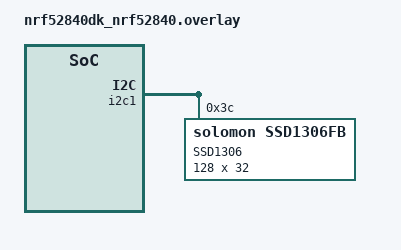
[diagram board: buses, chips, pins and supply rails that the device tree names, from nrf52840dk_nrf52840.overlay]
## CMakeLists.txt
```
cmake_minimum_required(VERSION 3.20.0)
find_package(Zephyr REQUIRED HINTS $ENV{ZEPHYR_BASE})

project(OLED_text_print)

target_sources(app PRIVATE src/main.c)
```

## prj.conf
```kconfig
CONFIG_STDOUT_CONSOLE=y

CONFIG_HEAP_MEM_POOL_SIZE=16384

CONFIG_DISPLAY=y

CONFIG_LOG=y

CONFIG_CFB_LOG_LEVEL_DBG=y
CONFIG_CHARACTER_FRAMEBUFFER=y

#Add these for the SSD1306 OLED:
CONFIG_I2C=y
CONFIG_SSD1306=y

#Reverse colors:
CONFIG_SSD1306_REVERSE_MODE=y
```

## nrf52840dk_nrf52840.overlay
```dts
&i2c1 {
    ssd1306@3c {
        compatible = "solomon,ssd1306fb";
        reg = <0x3c>;
        label = "SSD1306";
        width = <128>;
        height = <32>;
        segment-offset = <0>;
        page-offset = <0>;
        display-offset = <0>;
        multiplex-ratio = <31>;
        segment-remap;
        com-invdir;
        com-sequential;
        prechargep = <0x22>;
    };
};
&spi1 {
    status = "disabled";
};
```

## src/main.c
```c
#include <zephyr/kernel.h>
#include <zephyr/device.h>
#include <zephyr/display/cfb.h>
#include <stdio.h>

#if defined(CONFIG_SSD16XX)
#define DISPLAY_DRIVER		"SSD16XX"
#endif

#if defined(CONFIG_SSD1306)
#define DISPLAY_DRIVER		"SSD1306"
#endif

#ifndef DISPLAY_DRIVER
#define DISPLAY_DRIVER		"DISPLAY"
#endif

void main(void)
{
	const struct device *dev;
	uint16_t rows;
	uint8_t ppt;
	uint8_t font_width;
	uint8_t font_height;

	dev = device_get_binding(DISPLAY_DRIVER);

	if (dev == NULL) {
		printf("Device not found\n");
		return;
	}

	if (display_set_pixel_format(dev, PIXEL_FORMAT_MONO10) != 0) {
		printf("Failed to set required pixel format\n");
		return;
	}

	printf("initialized %s\n", DISPLAY_DRIVER);

	if (cfb_framebuffer_init(dev)) {
		printf("Framebuffer initialization failed!\n");
		return;
	}

	cfb_framebuffer_clear(dev, true);

	display_blanking_off(dev);

	rows = cfb_get_display_parameter(dev, CFB_DISPLAY_ROWS);
	ppt = cfb_get_display_parameter(dev, CFB_DISPLAY_PPT);

	for (int idx = 0; idx < 42; idx++) {
		if (cfb_get_font_size(dev, idx, &font_width, &font_height)) {
			break;
		}
		cfb_framebuffer_set_font(dev, idx);
		printf("font width %d, font height %d\n",
		       font_width, font_height);
	}

	printf("x_res %d, y_res %d, ppt %d, rows %d, cols %d\n",
	       cfb_get_display_parameter(dev, CFB_DISPLAY_WIDTH),
	       cfb_get_display_parameter(dev, CFB_DISPLAY_HEIGH),
	       ppt,
	       rows,
	       cfb_get_display_parameter(dev, CFB_DISPLAY_COLS));

	while (1) {
		for (int i = 0; i < rows; i++) {
			cfb_framebuffer_clear(dev, false);
			if (cfb_print(dev,
				      "0123456789mMgj!\"§$%&/()=",
				      0, i * ppt)) {
				printf("Failed to print a string\n");
				continue;
			}

			cfb_framebuffer_finalize(dev);
#if defined(CONFIG_ARCH_POSIX)
			k_sleep(K_MSEC(100));
#endif
		}
	}
}
```
